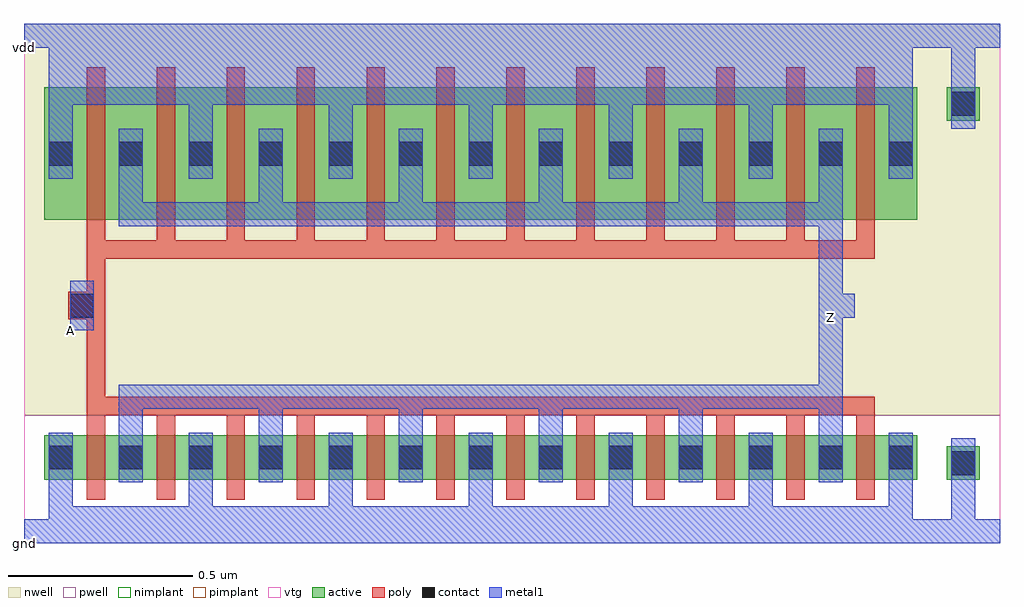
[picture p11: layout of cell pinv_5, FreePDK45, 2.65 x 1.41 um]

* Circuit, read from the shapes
.subckt pinv_5 A Z gnd vdd
M1 Z A gnd gnd nfet w=0.12u l=0.05u m=12
M2 Z A vdd vdd pfet w=0.36u l=0.05u m=12
.ends

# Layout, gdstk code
import gdstk
lib = gdstk.Library(unit=1e-6, precision=5e-10)
def R(c, l, rs):  # rectangles x0, y0, x1, y1
    for r in rs: c.add(gdstk.rectangle(r[:2], r[2:], *l))
def A(c, l, x, y, w, h, nx, ny, dx, dy):  # array of equal rectangles
    R(c, l, [(x+i*dx, y+j*dy, x+i*dx+w, y+j*dy+h) for i in range(nx) for j in range(ny)])
active = (1, 0)
pwell = (2, 0)
nwell = (3, 0)
nimplant = (4, 0)
pimplant = (5, 0)
vtg = (6, 0)
poly = (9, 0)
contact = (10, 0)
metal1 = (11, 0)

active_contact_metal1_1x = lib.new_cell('active_contact_metal1_1x1_pn')
R(active_contact_metal1_1x, active, [(0,0.0225,0.09,0.1125), (0,0.0225,0.09,0.1125)])
R(active_contact_metal1_1x, nwell, [(-0.055,-0.0325,0.145,0.1675), (-0.055,-0.0325,0.145,0.1675)])
R(active_contact_metal1_1x, pimplant, [(0,0.0225,0.09,0.1125), (0,0.0225,0.09,0.1125)])
R(active_contact_metal1_1x, contact, [(0.0125,0.035,0.0775,0.1), (0.0125,0.035,0.0775,0.1)])
R(active_contact_metal1_1x, metal1, [(0.0125,0,0.0775,0.135), (0.0125,0,0.0775,0.135)])

pmos_m12_w0_36_a_p = lib.new_cell('pmos_m12_w0_36_a_p')
R(pmos_m12_w0_36_a_p, active, [(0,0,2.37,0.36)])
R(pmos_m12_w0_36_a_p, nwell, [(-0.055,-0.055,2.425,0.415)])
R(pmos_m12_w0_36_a_p, pimplant, [(0,0,2.37,0.36)])
R(pmos_m12_w0_36_a_p, vtg, [(-0.055,-0.055,2.425,0.415)])
A(pmos_m12_w0_36_a_p, poly, 0.115, -0.055, 0.05, 0.47, 12, 1, 0.19, 0)
R(pmos_m12_w0_36_a_p, poly, [(0.115,-0.105,2.255,-0.055)])
A(pmos_m12_w0_36_a_p, metal1, 0.2025, 0.015, 0.065, 0.165, 6, 1, 0.38, 0)
A(pmos_m12_w0_36_a_p, metal1, 0.0125, 0.18, 0.065, 0.165, 7, 1, 0.38, 0)
R(pmos_m12_w0_36_a_p, metal1, [(0.2025,-0.0175,2.1675,0.0475), (0.0125,0.3125,2.3575,0.3775)])
pmos_m12_w0_36_a_p.add(gdstk.Reference(active_contact_metal1_1x, (0,0.1125)))
pmos_m12_w0_36_a_p.add(gdstk.Reference(active_contact_metal1_1x, (0.38,0.1125)))
pmos_m12_w0_36_a_p.add(gdstk.Reference(active_contact_metal1_1x, (0.76,0.1125)))
pmos_m12_w0_36_a_p.add(gdstk.Reference(active_contact_metal1_1x, (1.14,0.1125)))
pmos_m12_w0_36_a_p.add(gdstk.Reference(active_contact_metal1_1x, (1.52,0.1125)))
pmos_m12_w0_36_a_p.add(gdstk.Reference(active_contact_metal1_1x, (1.9,0.1125)))
pmos_m12_w0_36_a_p.add(gdstk.Reference(active_contact_metal1_1x, (2.28,0.1125)))
pmos_m12_w0_36_a_p.add(gdstk.Reference(active_contact_metal1_1x, (0.19,0.1125)))
pmos_m12_w0_36_a_p.add(gdstk.Reference(active_contact_metal1_1x, (0.57,0.1125)))
pmos_m12_w0_36_a_p.add(gdstk.Reference(active_contact_metal1_1x, (0.95,0.1125)))
pmos_m12_w0_36_a_p.add(gdstk.Reference(active_contact_metal1_1x, (1.33,0.1125)))
pmos_m12_w0_36_a_p.add(gdstk.Reference(active_contact_metal1_1x, (1.71,0.1125)))
pmos_m12_w0_36_a_p.add(gdstk.Reference(active_contact_metal1_1x, (2.09,0.1125)))
pmos_m12_w0_36_a_p.add(gdstk.Label('S', (0.0125,0.3125), layer=11, texttype=0))
pmos_m12_w0_36_a_p.add(gdstk.Label('D', (0.2025,-0.0175), layer=11, texttype=0))
pmos_m12_w0_36_a_p.add(gdstk.Label('G', (0.115,-0.105), layer=9, texttype=0))

c_active_contact_metal1_1x = lib.new_cell('active_contact_metal1_1x1_np')
R(c_active_contact_metal1_1x, active, [(0,0.0225,0.09,0.1125)])
R(c_active_contact_metal1_1x, pwell, [(-0.055,-0.0325,0.145,0.1675)])
R(c_active_contact_metal1_1x, nimplant, [(0,0.0225,0.09,0.1125)])
R(c_active_contact_metal1_1x, contact, [(0.0125,0.035,0.0775,0.1)])
R(c_active_contact_metal1_1x, metal1, [(0.0125,0,0.0775,0.135)])

nmos_m12_w0_12_a_p = lib.new_cell('nmos_m12_w0_12_a_p')
R(nmos_m12_w0_12_a_p, active, [(0,0,2.37,0.12)])
R(nmos_m12_w0_12_a_p, pwell, [(-0.055,-0.055,2.425,0.175)])
R(nmos_m12_w0_12_a_p, nimplant, [(0,0,2.37,0.12)])
R(nmos_m12_w0_12_a_p, vtg, [(-0.055,-0.055,2.425,0.175)])
A(nmos_m12_w0_12_a_p, poly, 0.115, -0.055, 0.05, 0.23, 12, 1, 0.19, 0)
R(nmos_m12_w0_12_a_p, poly, [(0.115,0.175,2.255,0.225)])
A(nmos_m12_w0_12_a_p, metal1, 0.0125, -0.105, 0.065, 0.165, 7, 1, 0.38, 0)
A(nmos_m12_w0_12_a_p, metal1, 0.2025, 0.06, 0.065, 0.165, 6, 1, 0.38, 0)
R(nmos_m12_w0_12_a_p, metal1, [(0.0125,-0.1375,2.3575,-0.0725), (0.2025,0.1925,2.1675,0.2575)])
nmos_m12_w0_12_a_p.add(gdstk.Reference(c_active_contact_metal1_1x, (0,-0.0075)))
nmos_m12_w0_12_a_p.add(gdstk.Reference(c_active_contact_metal1_1x, (0.38,-0.0075)))
nmos_m12_w0_12_a_p.add(gdstk.Reference(c_active_contact_metal1_1x, (0.76,-0.0075)))
nmos_m12_w0_12_a_p.add(gdstk.Reference(c_active_contact_metal1_1x, (1.14,-0.0075)))
nmos_m12_w0_12_a_p.add(gdstk.Reference(c_active_contact_metal1_1x, (1.52,-0.0075)))
nmos_m12_w0_12_a_p.add(gdstk.Reference(c_active_contact_metal1_1x, (1.9,-0.0075)))
nmos_m12_w0_12_a_p.add(gdstk.Reference(c_active_contact_metal1_1x, (2.28,-0.0075)))
nmos_m12_w0_12_a_p.add(gdstk.Reference(c_active_contact_metal1_1x, (0.19,-0.0075)))
nmos_m12_w0_12_a_p.add(gdstk.Reference(c_active_contact_metal1_1x, (0.57,-0.0075)))
nmos_m12_w0_12_a_p.add(gdstk.Reference(c_active_contact_metal1_1x, (0.95,-0.0075)))
nmos_m12_w0_12_a_p.add(gdstk.Reference(c_active_contact_metal1_1x, (1.33,-0.0075)))
nmos_m12_w0_12_a_p.add(gdstk.Reference(c_active_contact_metal1_1x, (1.71,-0.0075)))
nmos_m12_w0_12_a_p.add(gdstk.Reference(c_active_contact_metal1_1x, (2.09,-0.0075)))
nmos_m12_w0_12_a_p.add(gdstk.Label('S', (0.0125,-0.1375), layer=11, texttype=0))
nmos_m12_w0_12_a_p.add(gdstk.Label('D', (0.2025,0.1925), layer=11, texttype=0))
nmos_m12_w0_12_a_p.add(gdstk.Label('G', (0.115,0.175), layer=9, texttype=0))

c_active_contact_metal1_1x_ = lib.new_cell('active_contact_metal1_1x1_nn')
R(c_active_contact_metal1_1x_, active, [(0,0.0225,0.09,0.1125), (0,0.0225,0.09,0.1125)])
R(c_active_contact_metal1_1x_, nwell, [(-0.055,-0.0325,0.145,0.1675), (-0.055,-0.0325,0.145,0.1675)])
R(c_active_contact_metal1_1x_, nimplant, [(0,0.0225,0.09,0.1125), (0,0.0225,0.09,0.1125)])
R(c_active_contact_metal1_1x_, contact, [(0.0125,0.035,0.0775,0.1), (0.0125,0.035,0.0775,0.1)])
R(c_active_contact_metal1_1x_, metal1, [(0.0125,0,0.0775,0.135), (0.0125,0,0.0775,0.135)])

c_active_contact_metal1_1x__ = lib.new_cell('active_contact_metal1_1x1_pp')
R(c_active_contact_metal1_1x__, active, [(0,0.0225,0.09,0.1125)])
R(c_active_contact_metal1_1x__, pwell, [(-0.055,-0.0325,0.145,0.1675)])
R(c_active_contact_metal1_1x__, pimplant, [(0,0.0225,0.09,0.1125)])
R(c_active_contact_metal1_1x__, contact, [(0.0125,0.035,0.0775,0.1)])
R(c_active_contact_metal1_1x__, metal1, [(0.0125,0,0.0775,0.135)])

poly_contact_metal1_1x1 = lib.new_cell('poly_contact_metal1_1x1')
R(poly_contact_metal1_1x1, poly, [(0,0.03,0.075,0.105), (0,0.03,0.075,0.105)])
R(poly_contact_metal1_1x1, contact, [(0.005,0.035,0.07,0.1), (0.005,0.035,0.07,0.1)])
R(poly_contact_metal1_1x1, metal1, [(0.005,0,0.07,0.135), (0.005,0,0.07,0.135)])

pinv_5 = lib.new_cell('pinv_5')
R(pinv_5, pwell, [(0,-0.0325,2.65,0.315)])
R(pinv_5, nwell, [(0,0.315,2.65,1.3775)])
R(pinv_5, vtg, [(0,-0.0325,2.65,0.315), (0,0.315,2.65,1.3775)])
R(pinv_5, poly, [(0.17,0.315,0.22,0.74), (0.1575,0.575,0.17,0.65)])
R(pinv_5, metal1, [(0,-0.0325,2.65,0.0325), (2.5175,0,2.5825,0.185), (2.1575,0.3325,2.2225,0.8275), (0.125,0.545,0.19,0.68), (2.19,0.58,2.255,0.645), (0.0675,1.1575,2.4125,1.3775), (2.5175,1.16,2.5825,1.345), (0,1.3125,2.65,1.3775)])
pinv_5.add(gdstk.Reference(pmos_m12_w0_36_a_p, (0.055,0.845)))
pinv_5.add(gdstk.Reference(nmos_m12_w0_12_a_p, (0.055,0.14)))
pinv_5.add(gdstk.Reference(c_active_contact_metal1_1x_, (2.505,1.0925)))
pinv_5.add(gdstk.Reference(c_active_contact_metal1_1x__, (2.505,0.1175)))
pinv_5.add(gdstk.Reference(poly_contact_metal1_1x1, (0.12,0.545)))
pinv_5.add(gdstk.Label('A', (0.125,0.545), layer=11, texttype=0))
pinv_5.add(gdstk.Label('Z', (2.19,0.58), layer=11, texttype=0))
pinv_5.add(gdstk.Label('vdd', (0,1.3125), layer=11, texttype=0))
pinv_5.add(gdstk.Label('gnd', (0,-0.0325), layer=11, texttype=0))

lib.write_gds('pinv_5.gds')
